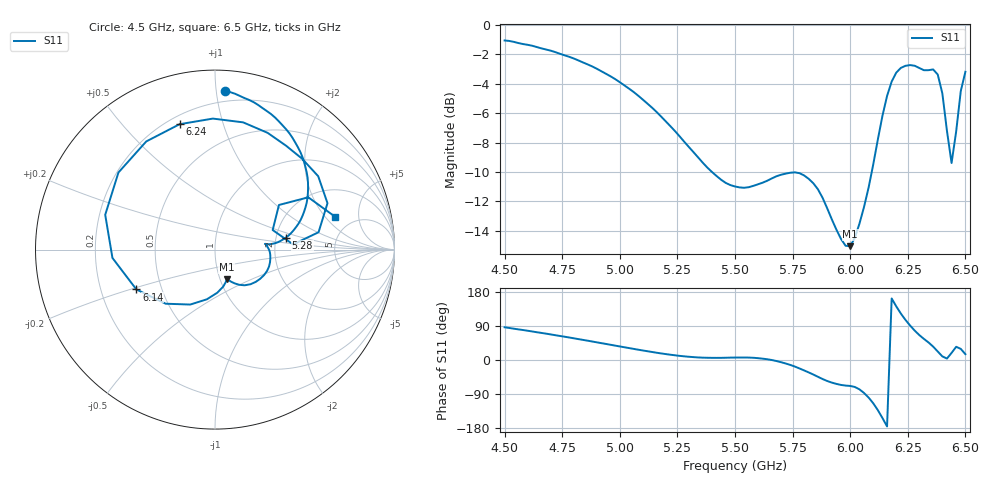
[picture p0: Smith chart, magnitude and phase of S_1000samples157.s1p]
! TOUCHSTONE file generated by CST MICROWAVE STUDIO
! Date and time: Thu Oct 27 04:44:51 2022
! Project name: L.cst
! Parameters = {Di=1.27; Epsilon_r=1.56; InnerDiameter=1.27; Length=2; Lf=10; Lg=60; OuterConductorThickness=0.2921; OuterDiameter=3.6; Wf=3; Wp=41.2; de=1.5; df=6.8; g=0.8; gx=1.27695; gy=4.65879; h=2.34; hf=1.524; px=12.9116; py=8.27419; w=9.7; wx=11.6347; wy=3.61541}
! Header version: 2018
! Port assignment regex: !\s*Touchstone port\s*([0-9]+)\s*=\s*(CST MWS port|CST DS port)\s*([0-9]+|Zmin|Zmax)\s*\(\"(.*)\"\)(\s*mode\s*([0-9]+))?.*
! Touchstone port assignment:
! Touchstone port 1 = CST MWS port 1 ("")
# GHz S DB R 50
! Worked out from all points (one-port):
!   101 points, 4.5 GHz to 6.5 GHz, reference 50 ohm
!   lowest |S11| = -15.0 dB at 6 GHz (marker M1), VSWR 1.43, Z = 53.7 - j18.3 ohm
!   |S11| at or under -10 dB: 5.4 GHz to 6.093 GHz (693 MHz wide, 12.1 % of centre)
!   S11 on the Smith chart (normalised r, x): 4.5 GHz: 0.13, +1.06; 5.28 GHz: 2.27, +0.36; 6.14 GHz: 0.36, -0.21; 6.24 GHz: 0.25, +0.73; 6.5 GHz: 3.61, +2.55
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4.5  -1.06 86.4
4.76  -2.07 61.5
5  -3.90 35.8
5.26  -7.58 10.9
5.28  -7.95 9.6
5.5  -10.98 6.5
5.64  -10.59 2.0
5.76  -10.02 -17.4
5.86  -11.17 -44.3
6  -15.03 -68.5
6.08  -11.05 -99.2
6.12  -7.79 -132.3
6.14  -6.18 -153.1
6.16  -4.83 -175.3
6.18  -3.85 162.4
6.2  -3.24 141.4
6.22  -2.93 122.5
6.24  -2.78 105.8
6.26  -2.73 90.9
6.3  -2.93 65.7
6.36  -3.03 35.4
6.38  -3.38 22.4
6.4  -4.66 9.5
6.42  -7.21 3.8
6.44  -9.39 18.7
6.46  -7.24 34.9
6.48  -4.50 29.3
6.5  -3.19 15.4
